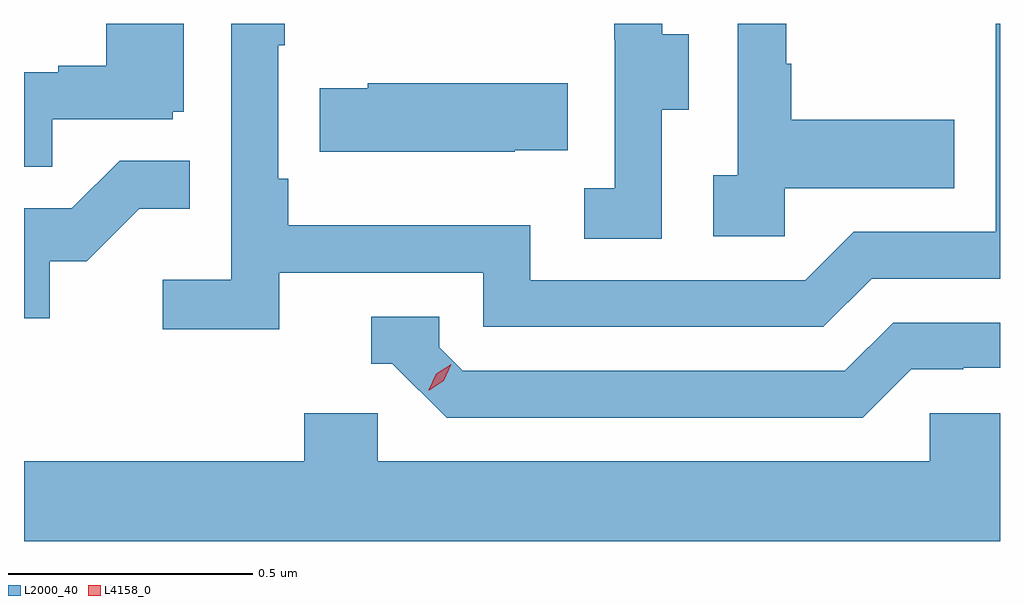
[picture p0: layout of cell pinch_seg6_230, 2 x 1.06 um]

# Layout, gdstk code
import gdstk
lib = gdstk.Library(unit=1e-6, precision=1e-09)
def P(c, l, *ps):  # polygons
    for p in ps: c.add(gdstk.Polygon(p, *l))
L2000_40 = (2000, 40)
L4158_0 = (4158, 0)

pinch_seg6_230 = lib.new_cell('pinch_seg6_230')
P(pinch_seg6_230, L2000_40, [(1092,933.568),(1092.055,933.568),(1092.055,933.723),(1092.001,933.723),(1092.001,933.744),(1091.903,933.744),(1091.903,933.711),(1091.904,933.711),(1091.904,933.407),(1091.841,933.407),(1091.841,933.304),(1092,933.304)],
  [(1092.252,933.407),(1092.599,933.407),(1092.599,933.547),(1092.265,933.547),(1092.265,933.662),(1092.255,933.662),(1092.255,933.744),(1092.156,933.744),(1092.156,933.434),(1092.105,933.434),(1092.105,933.309),(1092.252,933.309)],
  [(1091.216,933.234),(1091.634,933.234),(1091.634,933.123),(1092.331,933.123),(1092.43,933.222),(1092.693,933.222),(1092.693,933.744),(1092.684,933.744),(1092.684,933.318),(1092.393,933.318),(1092.294,933.219),(1091.73,933.219),(1091.73,933.331),(1091.234,933.331),(1091.234,933.427),(1091.214,933.427),(1091.214,933.7),(1091.227,933.7),(1091.227,933.744),(1091.118,933.744),(1091.118,933.22),(1090.977,933.22),(1090.977,933.118),(1091.216,933.118)],
  [(1090.751,933.549),(1090.998,933.549),(1090.998,933.564),(1091.02,933.564),(1091.02,933.744),(1090.862,933.744),(1090.862,933.658),(1090.763,933.658),(1090.763,933.645),(1090.693,933.645),(1090.693,933.451),(1090.751,933.451)],
  [(1091.699,933.485),(1091.807,933.485),(1091.807,933.622),(1091.397,933.622),(1091.397,933.612),(1091.299,933.612),(1091.299,933.482),(1091.699,933.482)],
  [(1090.746,933.258),(1090.822,933.258),(1090.929,933.365),(1091.033,933.365),(1091.033,933.464),(1090.889,933.464),(1090.791,933.366),(1090.693,933.366),(1090.693,933.141),(1090.746,933.141)],
  [(1092.511,933.036),(1092.618,933.036),(1092.618,933.039),(1092.693,933.039),(1092.693,933.132),(1092.474,933.132),(1092.375,933.033),(1091.592,933.033),(1091.544,933.081),(1091.544,933.144),(1091.405,933.144),(1091.405,933.048),(1091.448,933.048),(1091.559,932.937),(1092.412,932.937)],
  [(1092.693,932.946),(1092.549,932.946),(1092.549,932.848),(1091.418,932.848),(1091.418,932.946),(1091.267,932.946),(1091.267,932.848),(1090.693,932.848),(1090.693,932.684),(1092.693,932.684)])
P(pinch_seg6_230, L4158_0, [(1091.522,932.993),(1091.522,932.994),(1091.538,933.027),(1091.568,933.046),(1091.568,933.046),(1091.568,933.046),(1091.553,933.013),(1091.523,932.993)])

lib.write_gds('pinch_seg6_230.gds')
